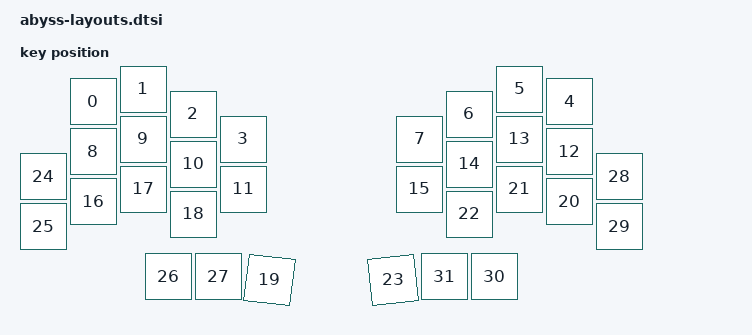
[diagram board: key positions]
#include <physical_layouts.dtsi>

/ {
    physical_layout_abyss: physical_layout_abyss {
        compatible = "zmk,physical-layout";
        display-name = "abyss";
        keys  //                     w   h    x    y     rot    rx    ry
            = <&key_physical_attrs 100 100  100   25       0     0     0>
            , <&key_physical_attrs 100 100  200    0       0     0     0>
            , <&key_physical_attrs 100 100  300   50       0     0     0>
            , <&key_physical_attrs 100 100  400  100       0     0     0>
            , <&key_physical_attrs 100 100 1053   25       0     0     0>
            , <&key_physical_attrs 100 100  953    0       0     0     0>
            , <&key_physical_attrs 100 100  853   50       0     0     0>
            , <&key_physical_attrs 100 100  753  100       0     0     0>
            , <&key_physical_attrs 100 100  100  125       0     0     0>
            , <&key_physical_attrs 100 100  200  100       0     0     0>
            , <&key_physical_attrs 100 100  300  150       0     0     0>
            , <&key_physical_attrs 100 100  400  200       0     0     0>
            , <&key_physical_attrs 100 100 1053  125       0     0     0>
            , <&key_physical_attrs 100 100  953  100       0     0     0>
            , <&key_physical_attrs 100 100  853  150       0     0     0>
            , <&key_physical_attrs 100 100  753  200       0     0     0>
            , <&key_physical_attrs 100 100  100  225       0     0     0>
            , <&key_physical_attrs 100 100  200  200       0     0     0>
            , <&key_physical_attrs 100 100  300  250       0     0     0>
            , <&key_physical_attrs 100 100  453  382     700   503   432>
            , <&key_physical_attrs 100 100 1053  225       0     0     0>
            , <&key_physical_attrs 100 100  953  200       0     0     0>
            , <&key_physical_attrs 100 100  853  250       0     0     0>
            , <&key_physical_attrs 100 100  700  382  (-700)   750   432>
            , <&key_physical_attrs 100 100    0  175       0     0     0>
            , <&key_physical_attrs 100 100    0  275       0     0     0>
            , <&key_physical_attrs 100 100  250  375       0     0     0>
            , <&key_physical_attrs 100 100  350  375       0     0     0>
            , <&key_physical_attrs 100 100 1153  175       0     0     0>
            , <&key_physical_attrs 100 100 1153  275       0     0     0>
            , <&key_physical_attrs 100 100  903  375       0     0     0>
            , <&key_physical_attrs 100 100  803  375       0     0     0>
            ;
    };
};
